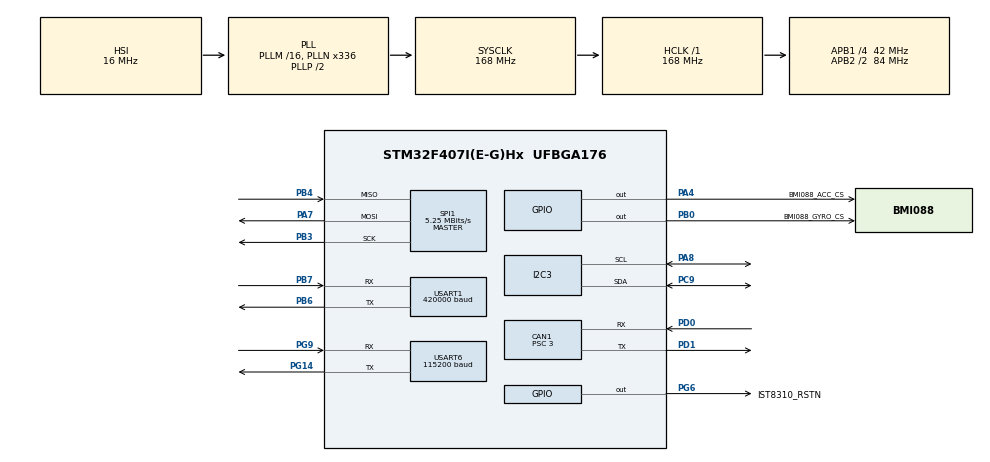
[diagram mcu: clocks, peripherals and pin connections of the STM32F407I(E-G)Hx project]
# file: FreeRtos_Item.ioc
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CAN1.ABOM=ENABLE
CAN1.BS1=CAN_BS1_9TQ
CAN1.BS2=CAN_BS2_4TQ
CAN1.CalculateBaudRate=1000000
CAN1.CalculateTimeBit=1000
CAN1.CalculateTimeQuantum=71.42857142857143
CAN1.Mode=CAN_MODE_NORMAL
CAN1.NART=ENABLE
CAN1.Prescaler=3
Dma.Request0=SPI1_RX
Dma.Request1=SPI1_TX
Dma.Request2=USART1_RX
Dma.SPI1_RX.0.Direction=DMA_PERIPH_TO_MEMORY
Dma.SPI1_RX.0.FIFOMode=DMA_FIFOMODE_DISABLE
Dma.SPI1_RX.0.Instance=DMA2_Stream0
Dma.SPI1_RX.0.MemDataAlignment=DMA_MDATAALIGN_BYTE
Dma.SPI1_RX.0.MemInc=DMA_MINC_ENABLE
Dma.SPI1_RX.0.Mode=DMA_NORMAL
Dma.SPI1_RX.0.PeriphDataAlignment=DMA_PDATAALIGN_BYTE
Dma.SPI1_RX.0.PeriphInc=DMA_PINC_DISABLE
Dma.SPI1_RX.0.Priority=DMA_PRIORITY_HIGH
Dma.SPI1_TX.1.Direction=DMA_MEMORY_TO_PERIPH
Dma.SPI1_TX.1.FIFOMode=DMA_FIFOMODE_DISABLE
Dma.SPI1_TX.1.Instance=DMA2_Stream3
Dma.SPI1_TX.1.MemDataAlignment=DMA_MDATAALIGN_BYTE
Dma.SPI1_TX.1.MemInc=DMA_MINC_ENABLE
Dma.SPI1_TX.1.Mode=DMA_NORMAL
Dma.SPI1_TX.1.PeriphDataAlignment=DMA_PDATAALIGN_BYTE
Dma.SPI1_TX.1.PeriphInc=DMA_PINC_DISABLE
Dma.SPI1_TX.1.Priority=DMA_PRIORITY_HIGH
Dma.USART1_RX.2.Direction=DMA_PERIPH_TO_MEMORY
Dma.USART1_RX.2.FIFOMode=DMA_FIFOMODE_DISABLE
Dma.USART1_RX.2.Instance=DMA2_Stream2
Dma.USART1_RX.2.MemDataAlignment=DMA_MDATAALIGN_BYTE
Dma.USART1_RX.2.MemInc=DMA_MINC_ENABLE
Dma.USART1_RX.2.Mode=DMA_CIRCULAR
Dma.USART1_RX.2.PeriphDataAlignment=DMA_PDATAALIGN_BYTE
Dma.USART1_RX.2.PeriphInc=DMA_PINC_DISABLE
Dma.USART1_RX.2.Priority=DMA_PRIORITY_MEDIUM
FREERTOS.BinarySemaphores01=ELRSSem,Dynamic,NULL,Available;IMUSem,Dynamic,NULL,Available
FREERTOS.Queues01=ELRSDataQuene,16,Chassis_Command_t,0,Dynamic,NULL,NULL
FREERTOS.Tasks01=ELRS,24,128,ELRS_Parse,Default,NULL,Dynamic,NULL,NULL;BMI088_Parse,8,128,BMI088Task,Default,NULL,Dynamic,NULL,NULL;Chassis_Remote,8,128,ChassisTask,Default,NULL,Dynamic,NULL,NULL
I2C3.I2C_Mode=I2C_Fast
Mcu.Family=STM32F4
Mcu.Name=STM32F407I(E-G)Hx
Mcu.Package=UFBGA176
NVIC.CAN1_RX0_IRQn=true\:5\:0\:false\:false\:true\:true\:true\:true\:true
NVIC.CAN1_RX1_IRQn=true\:5\:0\:false\:false\:true\:true\:true\:true\:true
NVIC.DMA2_Stream0_IRQn=true\:5\:0\:false\:false\:true\:true\:false\:true\:true
NVIC.DMA2_Stream2_IRQn=true\:5\:0\:false\:false\:true\:true\:false\:true\:true
NVIC.DMA2_Stream3_IRQn=true\:5\:0\:false\:false\:true\:true\:false\:true\:true
NVIC.PriorityGroup=NVIC_PRIORITYGROUP_4
NVIC.SPI1_IRQn=true\:5\:0\:false\:false\:true\:true\:true\:true\:true
NVIC.TIM8_UP_TIM13_IRQn=true\:5\:0\:false\:false\:true\:true\:true\:true\:true
NVIC.USART1_IRQn=true\:5\:0\:false\:false\:true\:true\:true\:true\:true
PA13.Mode=Serial_Wire
PA13.Signal=SYS_JTMS-SWDIO
PA14.Mode=Serial_Wire
PA14.Signal=SYS_JTCK-SWCLK
PA4.GPIO_Label=BMI088_ACC_CS
PA4.GPIO_ModeDefaultOutputPP=GPIO_MODE_OUTPUT_PP
PA4.GPIO_PuPd=GPIO_NOPULL
PA4.PinState=GPIO_PIN_SET
PA4.Signal=GPIO_Output
PA7.Mode=Full_Duplex_Master
PA7.Signal=SPI1_MOSI
PA8.Mode=I2C
PA8.Signal=I2C3_SCL
PB0.GPIO_Label=BMI088_GYRO_CS
PB0.GPIO_ModeDefaultOutputPP=GPIO_MODE_OUTPUT_PP
PB0.GPIO_PuPd=GPIO_NOPULL
PB0.PinState=GPIO_PIN_SET
PB0.Signal=GPIO_Output
PB3.Mode=Full_Duplex_Master
PB3.Signal=SPI1_SCK
PB4.Mode=Full_Duplex_Master
PB4.Signal=SPI1_MISO
PB6.Mode=Asynchronous
PB6.Signal=USART1_TX
PB7.Mode=Asynchronous
PB7.Signal=USART1_RX
PC9.Mode=I2C
PC9.Signal=I2C3_SDA
PD0.Mode=CAN_Activate
PD0.Signal=CAN1_RX
PD1.Mode=CAN_Activate
PD1.Signal=CAN1_TX
PG14.Mode=Asynchronous
PG14.Signal=USART6_TX
PG6.GPIO_Label=IST8310_RSTN
PG6.GPIO_ModeDefaultOutputPP=GPIO_MODE_OUTPUT_PP
PG6.GPIO_PuPd=GPIO_PULLUP
PG6.GPIO_Speed=GPIO_SPEED_FREQ_MEDIUM
PG6.PinState=GPIO_PIN_SET
PG6.Signal=GPIO_Output
PG9.Mode=Asynchronous
PG9.Signal=USART6_RX
ProjectManager.HeapSize=0x200
ProjectManager.StackSize=0x400
ProjectManager.TargetToolchain=CMake
RCC.48MHZClocksFreq_Value=48000000
RCC.AHBFreq_Value=168000000
RCC.APB1CLKDivider=RCC_HCLK_DIV4
RCC.APB1Freq_Value=42000000
RCC.APB1TimFreq_Value=84000000
RCC.APB2CLKDivider=RCC_HCLK_DIV2
RCC.APB2Freq_Value=84000000
RCC.APB2TimFreq_Value=168000000
RCC.CortexFreq_Value=168000000
RCC.HCLKFreq_Value=168000000
RCC.HSE_VALUE=25000000
RCC.HSI_VALUE=16000000
RCC.LSE_VALUE=32768
RCC.PLLM=16
RCC.PLLN=336
RCC.PLLQ=7
RCC.PLLSourceVirtual=RCC_PLLSOURCE_HSI
RCC.SYSCLKFreq_VALUE=168000000
RCC.SYSCLKSource=RCC_SYSCLKSOURCE_PLLCLK
RCC.VCOOutputFreq_Value=336000000
SPI1.BaudRatePrescaler=SPI_BAUDRATEPRESCALER_16
SPI1.CalculateBaudRate=5.25 MBits/s
SPI1.Direction=SPI_DIRECTION_2LINES
SPI1.Mode=SPI_MODE_MASTER
SPI1.VirtualType=VM_MASTER
TIM8.Period=999
TIM8.Prescaler=167
USART1.BaudRate=420000
USART1.VirtualMode=VM_ASYNC
USART6.BaudRate=115200
USART6.VirtualMode=VM_ASYNC
VP_FREERTOS_VS_CMSIS_V2.Mode=CMSIS_V2
VP_TIM8_VS_ClockSourceINT.Mode=Internal
board=custom

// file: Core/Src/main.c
/* USER CODE BEGIN Header */
/**
  ******************************************************************************
  * @file           : main.c
  * @brief          : Main program body
  ******************************************************************************
  * @attention
  *
  * Copyright (c) 2026 STMicroelectronics.
  * All rights reserved.
  *
  * This software is licensed under terms that can be found in the LICENSE file
  * in the root directory of this software component.
  * If no LICENSE file comes with this software, it is provided AS-IS.
  *
  ******************************************************************************
  */
/* USER CODE END Header */
#include "main.h"
#include "cmsis_os.h"
#include "can.h"
#include "dma.h"
#include "i2c.h"
#include "spi.h"
#include "tim.h"
#include "usart.h"
#include "gpio.h"

/* USER CODE BEGIN Includes */
#include "ELRS_DMA.h"
#include "elrs_crsf.h"
#include "IMU_DMA.h"
#include "M3508.h"
#include "M3508_PID.h"

/* USER CODE END Includes */

/* USER CODE BEGIN PV */
extern osSemaphoreId_t ELRSSemHandle;
extern osSemaphoreId_t IMUSemHandle;
#define ELRS_RX_DMA_LENGTH 256U
static uint8_t elrs_rx_dma_buffer[ELRS_RX_DMA_LENGTH];
M3508_ManagerTypeDef g_m3508_manager;
M3508_MotorTypeDef g_chassis_motors[4];

/* USER CODE END PV */

void SystemClock_Config(void);
void MX_FREERTOS_Init(void);

int main(void)
{

  /* MCU Configuration--------------------------------------------------------*/

  /* Reset of all peripherals, Initializes the Flash interface and the Systick. */
  HAL_Init();

  /* Configure the system clock */
  SystemClock_Config();

  /* Initialize all configured peripherals */
  MX_GPIO_Init();
  MX_DMA_Init();
  MX_CAN1_Init();
  MX_I2C3_Init();
  MX_SPI1_Init();
  MX_TIM8_Init();
  MX_USART1_UART_Init();
  MX_USART6_UART_Init();
  /* USER CODE BEGIN 2 */
  ELRS_CRSF_Init();
  ELRS_DMA_Reset();
  __HAL_DMA_DISABLE_IT(huart1.hdmarx, DMA_IT_HT);
  M3508_Manager_Init(&g_m3508_manager, &hcan1);
  for (uint8_t motor_id = 1U; motor_id <= 4U; motor_id++)
  {
    M3508_Manager_RegisterMotor(&g_m3508_manager,
                                &g_chassis_motors[motor_id - 1U],
                                motor_id);
    M3508_PID_Init(&g_chassis_motors[motor_id - 1U]);
  }
  M3508_Manager_Start(&g_m3508_manager);
  /* USER CODE END 2 */

  /* Init scheduler */
  osKernelInitialize();  /* Call init function for freertos objects (in cmsis_os2.c) */
  MX_FREERTOS_Init();

  /* Start scheduler */
  osKernelStart();

  /* We should never get here as control is now taken by the scheduler */

  /* Infinite loop */
  while (1)
  {

  }
}

void SystemClock_Config(void)
{
  RCC_OscInitTypeDef RCC_OscInitStruct = {0};
  RCC_ClkInitTypeDef RCC_ClkInitStruct = {0};

  /** Configure the main internal regulator output voltage
  */
  __HAL_RCC_PWR_CLK_ENABLE();
  __HAL_PWR_VOLTAGESCALING_CONFIG(PWR_REGULATOR_VOLTAGE_SCALE1);

  /** Initializes the RCC Oscillators according to the specified parameters
  * in the RCC_OscInitTypeDef structure.
  */
  RCC_OscInitStruct.OscillatorType = RCC_OSCILLATORTYPE_HSI;
  RCC_OscInitStruct.HSIState = RCC_HSI_ON;
  RCC_OscInitStruct.HSICalibrationValue = RCC_HSICALIBRATION_DEFAULT;
  RCC_OscInitStruct.PLL.PLLState = RCC_PLL_ON;
  RCC_OscInitStruct.PLL.PLLSource = RCC_PLLSOURCE_HSI;
  RCC_OscInitStruct.PLL.PLLM = 16;
  RCC_OscInitStruct.PLL.PLLN = 336;
  RCC_OscInitStruct.PLL.PLLP = RCC_PLLP_DIV2;
  RCC_OscInitStruct.PLL.PLLQ = 7;
  if (HAL_RCC_OscConfig(&RCC_OscInitStruct) != HAL_OK)
  {
    Error_Handler();
  }

  /** Initializes the CPU, AHB and APB buses clocks
  */
  RCC_ClkInitStruct.ClockType = RCC_CLOCKTYPE_HCLK|RCC_CLOCKTYPE_SYSCLK
                              |RCC_CLOCKTYPE_PCLK1|RCC_CLOCKTYPE_PCLK2;
  RCC_ClkInitStruct.SYSCLKSource = RCC_SYSCLKSOURCE_PLLCLK;
  RCC_ClkInitStruct.AHBCLKDivider = RCC_SYSCLK_DIV1;
  RCC_ClkInitStruct.APB1CLKDivider = RCC_HCLK_DIV4;
  RCC_ClkInitStruct.APB2CLKDivider = RCC_HCLK_DIV2;

  if (HAL_RCC_ClockConfig(&RCC_ClkInitStruct, FLASH_LATENCY_5) != HAL_OK)
  {
    Error_Handler();
  }
}

/* USER CODE BEGIN 4 */
void HAL_UARTEx_RxEventCallback(UART_HandleTypeDef *huart, uint16_t Size)
{
  if (huart->Instance == USART1)
  {
      ELRS_DMA_UpdateSize(&huart1,Size);
      osSemaphoreRelease(ELRSSemHandle);
  }
}

void HAL_UART_ErrorCallback(UART_HandleTypeDef *huart)
{
  if (huart->Instance == USART1)
  {
    (void)HAL_UART_AbortReceive(huart);
    ELRS_DMA_Reset();
    if (HAL_UARTEx_ReceiveToIdle_DMA(huart, elrs_rx_dma_buffer,
                                     ELRS_RX_DMA_LENGTH) == HAL_OK)
    {
      __HAL_DMA_DISABLE_IT(huart->hdmarx, DMA_IT_HT);
    }
  }
}

void HAL_TIM_PeriodElapsedCallback(TIM_HandleTypeDef *htim)
{
  if (htim->Instance == TIM8)
  {
    (void)IMU_DMA_StartSample();
  }
}

void HAL_SPI_TxRxCpltCallback(SPI_HandleTypeDef *hspi)
{
  IMU_DMA_SPI_TxRxCpltCallback(hspi);
  if (hspi->Instance == SPI1 && IMU_DMA_IsSampleReady() == 1)
  {
    osSemaphoreRelease(IMUSemHandle);
  }
}

void HAL_SPI_ErrorCallback(SPI_HandleTypeDef *hspi)
{
  IMU_DMA_SPI_ErrorCallback(hspi);
}

void HAL_CAN_RxFifo0MsgPendingCallback(CAN_HandleTypeDef *hcan)
{
  M3508_Manager_RxFifo0Callback(&g_m3508_manager, hcan);
}
/* USER CODE END 4 */

void Error_Handler(void)
{
  __disable_irq();
  while (1)
  {
  }
}

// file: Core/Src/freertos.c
/* USER CODE BEGIN Header */
/**
  ******************************************************************************
  * File Name          : freertos.c
  * Description        : Code for freertos applications
  ******************************************************************************
  * @attention
  *
  * Copyright (c) 2026 STMicroelectronics.
  * All rights reserved.
  *
  * This software is licensed under terms that can be found in the LICENSE file
  * in the root directory of this software component.
  * If no LICENSE file comes with this software, it is provided AS-IS.
  *
  ******************************************************************************
  */
/* USER CODE END Header */

#include "FreeRTOS.h"
#include "task.h"
#include "main.h"
#include "cmsis_os.h"

/* USER CODE BEGIN Includes */
#include "BMI088.h"
#include "chassis_control.h"
#include "ELRS_DMA.h"
#include "usart.h"
#include "IMU_DMA.h"
#include "IMU_ATTITUDE.h"
#include "IST8310.h"
#include "i2c.h"
#include "spi.h"
#include "tim.h"
#include "M3508.h"
#include "M3508_PID.h"
/* USER CODE END Includes */

/* USER CODE BEGIN Variables */
extern M3508_ManagerTypeDef g_m3508_manager;
extern M3508_MotorTypeDef g_chassis_motors[4];
/* USER CODE END Variables */
/* Definitions for ELRS */
osThreadId_t ELRSHandle;
const osThreadAttr_t ELRS_attributes = {
  .name = "ELRS",
  .stack_size = 128 * 4,
  .priority = (osPriority_t) osPriorityNormal,
};
/* Definitions for BMI088_Parse */
osThreadId_t BMI088_ParseHandle;
const osThreadAttr_t BMI088_Parse_attributes = {
  .name = "BMI088_Parse",
  .stack_size = 128 * 4,
  .priority = (osPriority_t) osPriorityLow,
};
/* Definitions for Chassis_Remote */
osThreadId_t Chassis_RemoteHandle;
const osThreadAttr_t Chassis_Remote_attributes = {
  .name = "Chassis_Remote",
  .stack_size = 128 * 4,
  .priority = (osPriority_t) osPriorityLow,
};
/* Definitions for ELRSDataQuene */
osMessageQueueId_t ELRSDataQueneHandle;
const osMessageQueueAttr_t ELRSDataQuene_attributes = {
  .name = "ELRSDataQuene"
};
/* Definitions for ELRSSem */
osSemaphoreId_t ELRSSemHandle;
const osSemaphoreAttr_t ELRSSem_attributes = {
  .name = "ELRSSem"
};
/* Definitions for IMUSem */
osSemaphoreId_t IMUSemHandle;
const osSemaphoreAttr_t IMUSem_attributes = {
  .name = "IMUSem"
};

void ELRS_Parse(void *argument);
void BMI088Task(void *argument);
void ChassisTask(void *argument);

void MX_FREERTOS_Init(void); /* (MISRA C 2004 rule 8.1) */

void MX_FREERTOS_Init(void) {

  /* Create the semaphores(s) */
  /* creation of ELRSSem */
  ELRSSemHandle = osSemaphoreNew(1, 1, &ELRSSem_attributes);

  /* creation of IMUSem */
  IMUSemHandle = osSemaphoreNew(1, 1, &IMUSem_attributes);

  /* Create the queue(s) */
  /* creation of ELRSDataQuene */
  ELRSDataQueneHandle = osMessageQueueNew (16, sizeof(Chassis_Command_t), &ELRSDataQuene_attributes);

  /* Create the thread(s) */
  /* creation of ELRS */
  ELRSHandle = osThreadNew(ELRS_Parse, NULL, &ELRS_attributes);

  /* creation of BMI088_Parse */
  BMI088_ParseHandle = osThreadNew(BMI088Task, NULL, &BMI088_Parse_attributes);

  /* creation of Chassis_Remote */
  Chassis_RemoteHandle = osThreadNew(ChassisTask, NULL, &Chassis_Remote_attributes);

}

void ELRS_Parse(void *argument)
{
  /* USER CODE BEGIN ELRS_Parse */

  ELRS_DMA_Start(&huart1);
  Chassis_Command_t command;

  /* Infinite loop */
  for(;;)
  {
    if (osSemaphoreAcquire(ELRSSemHandle,osWaitForever) == osOK)
    {
      ELRS_DMA_Process();
      Chassis_Control_Update(&command);
      osMessageQueuePut(ELRSDataQueneHandle,&command,0,0);
    }
  }
  /* USER CODE END ELRS_Parse */
}

void BMI088Task(void *argument)
{
  /* USER CODE BEGIN BMI088Task */
  BMI088_Data_t bmi088_data;
  IST8310_Data_t ist8310_data;
  IMU_Attitude_t imu_attitude_data;
  uint32_t mag_Tick = 0;

  BMI088_Init(&hspi1);
  BMI088_Update();
  BMI088_GetData(&bmi088_data);

  IST8310_Init(&hi2c3);
  osDelay(10);
  IST8310_Update();
  IST8310_GetData(&ist8310_data);

  IMU_Attitude_Init(&bmi088_data,&ist8310_data);
  IMU_Attitude_Update(&bmi088_data,&ist8310_data,1);

  IMU_DMA_Init(&hspi1,&htim8);
  IMU_DMA_StartTimer();
  mag_Tick = HAL_GetTick();
  /* Infinite loop */
  for(;;)
  {
    osSemaphoreAcquire(IMUSemHandle,osWaitForever);
    IMU_DMA_ProcessSample(&bmi088_data);

    if (HAL_GetTick() - mag_Tick >= 10U)
    {
      mag_Tick = HAL_GetTick();
      IST8310_Update();
      IST8310_GetData(&ist8310_data);
    }

    IMU_Attitude_Update(&bmi088_data,&ist8310_data,IMU_DMA_GetDt());
    IMU_Attitude_GetData(&imu_attitude_data);

  }
  /* USER CODE END BMI088Task */
}

//2ms更新一次目标电流，控制PID
void ChassisTask(void *argument)
{
  /* USER CODE BEGIN ChassisTask */
  Chassis_Command_t command = {0};
  IMU_Attitude_t imu_attitude_data = {0};
  M3508_FeedbackTypeDef motor_feedback[CHASSIS_WHEEL_COUNT] = {0};
  float target_rpm[CHASSIS_WHEEL_COUNT] = {0};
  TickType_t last_wake_time = xTaskGetTickCount();
  /* Infinite loop */
  for(;;)
  {
    while (osMessageQueueGet(ELRSDataQueneHandle,&command,0,0) == osOK)
    {
      // 等待最新的command
    }
    IMU_Attitude_GetData(&imu_attitude_data);
    for (uint8_t i = 0U; i < CHASSIS_WHEEL_COUNT; i++)
    {
      M3508_Motor_GetFeedback(&g_chassis_motors[i], &motor_feedback[i]);
    }

    if (command.state == CHASSIS_STATE_ENABLED)
    {
      Chassis_CalculateMotorRPM(target_rpm, &command);
      for (uint8_t i = 0U; i < CHASSIS_WHEEL_COUNT; i++)
      {
        M3508_PID_Process(&g_chassis_motors[i],
                          target_rpm[i],
                          (float)motor_feedback[i].speed_rpm);
      }
    }
    else
    {
      for (uint8_t i = 0U; i < CHASSIS_WHEEL_COUNT; i++)
      {
        target_rpm[i] = 0.0f;
        M3508_PID_Stop(&g_chassis_motors[i]);
      }
    }

    M3508_Manager_SendCurrents(&g_m3508_manager);
    vTaskDelayUntil(&last_wake_time,2);
  }
  /* USER CODE END ChassisTask */
}
